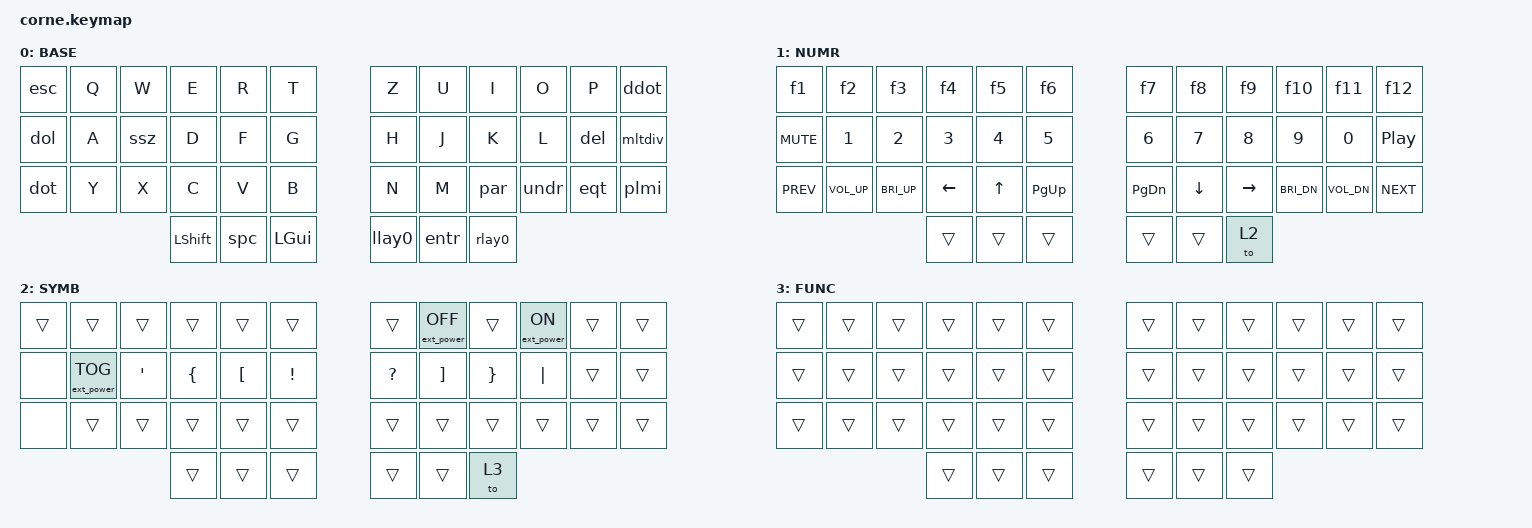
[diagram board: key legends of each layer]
/*
 * Copyright (c) 2020 The ZMK Contributors
 *
 * SPDX-License-Identifier: MIT
 */

#include <behaviors/unicode.dtsi>
#include <behaviors.dtsi>
#include <dt-bindings/zmk/bt.h>
#include <dt-bindings/zmk/ext_power.h>
#include <dt-bindings/zmk/keys.h>

&uc { default-mode = <UC_MODE_LINUX>; };

/ {
    combos { compatible = "zmk,combos"; };

    behaviors {
        par: par {
            compatible = "zmk,behavior-mod-morph";
            label = "PAR";
            bindings = <&kp LPAR>, <&kp RPAR>;

            #binding-cells = <0>;
            mods = <(MOD_LSFT|MOD_RSFT)>;
        };

        brc: brc {
            compatible = "zmk,behavior-mod-morph";
            label = "BRC";
            bindings = <&kp LBRC>, <&kp RBRC>;

            #binding-cells = <0>;
            mods = <(MOD_LSFT|MOD_RSFT)>;
        };

        bkt: bkt {
            compatible = "zmk,behavior-mod-morph";
            label = "BKT";
            bindings = <&kp LBKT>, <&kp RBKT>;

            #binding-cells = <0>;
            mods = <(MOD_LSFT|MOD_RSFT)>;
        };

        spc: spc {
            compatible = "zmk,behavior-mod-morph";
            label = "SPC";
            bindings = <&kp SPACE>, <&spc2>;

            #binding-cells = <0>;
            mods = <(MOD_LSFT|MOD_RSFT|MOD_LGUI|MOD_RGUI)>;
        };

        del: del {
            compatible = "zmk,behavior-mod-morph";
            label = "DEL";
            bindings = <&kp BACKSPACE>, <&kp DELETE>;

            #binding-cells = <0>;
            mods = <(MOD_LSFT|MOD_RSFT)>;
        };

        spc2: spc2 {
            compatible = "zmk,behavior-mod-morph";
            label = "SPC2";
            bindings = <&kp TAB>, <&kp LCTRL>;

            #binding-cells = <0>;
            mods = <(MOD_LGUI|MOD_RGUI)>;
        };

        rlay0: rlay0 {
            compatible = "zmk,behavior-mod-morph";
            label = "RLAY0";
            bindings = <&to 1>, <&sl 2>;

            #binding-cells = <0>;
            mods = <(MOD_LSFT|MOD_RSFT)>;
            keep-mods = <(MOD_LSFT|MOD_RSFT)>;
        };

        eqt: eqt {
            compatible = "zmk,behavior-mod-morph";
            label = "EQT";
            bindings = <&kp EQUAL>, <&eqt2>;

            #binding-cells = <0>;
            mods = <(MOD_LSFT|MOD_RCTL|MOD_LGUI|MOD_RGUI)>;
        };

        eqt2: eqt2 {
            compatible = "zmk,behavior-mod-morph";
            label = "EQT2";
            bindings = <&kp LT>, <&kp GT>;

            #binding-cells = <0>;
            mods = <(MOD_LGUI|MOD_RGUI)>;
        };

        plmi: plmi {
            compatible = "zmk,behavior-mod-morph";
            label = "PLMI";
            bindings = <&kp PLUS>, <&kp MINUS>;

            #binding-cells = <0>;
            mods = <(MOD_LSFT|MOD_RSFT)>;
        };

        mltdiv: mltdiv {
            compatible = "zmk,behavior-mod-morph";
            label = "MLTDIV";
            bindings = <&kp ASTERISK>, <&mltdiv2>;

            #binding-cells = <0>;
            mods = <(MOD_LSFT|MOD_RSFT|MOD_LGUI|MOD_RGUI)>;
        };

        mltdiv2: mltdiv2 {
            compatible = "zmk,behavior-mod-morph";
            label = "MLTDIV2";
            bindings = <&kp SLASH>, <&kp BACKSLASH>;

            #binding-cells = <0>;
            mods = <(MOD_LGUI|MOD_RGUI)>;
        };

        undr: undr {
            compatible = "zmk,behavior-mod-morph";
            label = "UNDR";
            bindings = <&kp UNDER>, <&caret>;

            #binding-cells = <0>;
            mods = <(MOD_LSFT|MOD_RSFT)>;
        };

        entr: entr {
            compatible = "zmk,behavior-mod-morph";
            label = "ENTR";
            bindings = <&kp ENTER>, <&entr2>;

            #binding-cells = <0>;
            mods = <(MOD_LSFT|MOD_LGUI|MOD_RSFT|MOD_RGUI)>;
        };

        entr2: entr2 {
            compatible = "zmk,behavior-mod-morph";
            label = "ENTR2";
            bindings = <&kp END>, <&kp HOME>;

            #binding-cells = <0>;
            mods = <(MOD_RGUI|MOD_LGUI)>;
        };

        dot: dot {
            compatible = "zmk,behavior-mod-morph";
            label = "DOT";
            bindings = <&kp DOT>, <&dot2>;

            #binding-cells = <0>;
            mods = <(MOD_LSFT|MOD_RSFT)>;
        };

        ddot: ddot {
            compatible = "zmk,behavior-mod-morph";
            label = "DDOT";
            bindings = <&kp COLON>, <&ddot2>;

            #binding-cells = <0>;
            mods = <(MOD_LSFT|MOD_RSFT)>;
        };

        dot2: dot2 {
            compatible = "zmk,behavior-mod-morph";
            label = "DOT2";
            bindings = <&kp COMMA>, <&kp DOUBLE_QUOTES>;

            #binding-cells = <0>;
            mods = <(MOD_LGUI|MOD_RGUI)>;
        };

        ddot2: ddot2 {
            compatible = "zmk,behavior-mod-morph";
            label = "DDOT2";
            bindings = <&kp SEMICOLON>, <&kp PIPE>;

            #binding-cells = <0>;
            mods = <(MOD_LGUI|MOD_RGUI)>;
        };

        llay0: llay0 {
            compatible = "zmk,behavior-mod-morph";
            label = "LLAY0";
            bindings = <&to 0>, <&soft_off>;

            #binding-cells = <0>;
            mods = <(MOD_RGUI|MOD_LGUI)>;
        };

        dol: dol {
            compatible = "zmk,behavior-mod-morph";
            label = "DOL";
            bindings = <&kp DOLLAR>, <&kp HASH>;

            #binding-cells = <0>;
            mods = <(MOD_LSFT|MOD_RSFT)>;
        };

        esc: esc {
            compatible = "zmk,behavior-mod-morph";
            label = "ESC";
            bindings = <&kp ESC>, <&bt BT_NXT>;

            #binding-cells = <0>;
            mods = <(MOD_LGUI|MOD_RGUI)>;
        };

        f1: f1 {
            compatible = "zmk,behavior-mod-morph";
            label = "F1";
            bindings = <&kp F1>, <&kp F13>;

            #binding-cells = <0>;
            mods = <(MOD_LSFT|MOD_RSFT)>;
        };

        f2: f2 {
            compatible = "zmk,behavior-mod-morph";
            label = "F2";
            bindings = <&kp F2>, <&kp F14>;

            #binding-cells = <0>;
            mods = <(MOD_LSFT|MOD_RSFT)>;
        };

        f3: f3 {
            compatible = "zmk,behavior-mod-morph";
            label = "F3";
            bindings = <&kp F3>, <&kp F15>;

            #binding-cells = <0>;
            mods = <(MOD_LSFT|MOD_RSFT)>;
        };

        f4: f4 {
            compatible = "zmk,behavior-mod-morph";
            label = "F4";
            bindings = <&kp F4>, <&kp F16>;

            #binding-cells = <0>;
            mods = <(MOD_LSFT|MOD_RSFT)>;
        };

        f5: f5 {
            compatible = "zmk,behavior-mod-morph";
            label = "F5";
            bindings = <&kp F5>, <&kp F17>;

            #binding-cells = <0>;
            mods = <(MOD_LSFT|MOD_RSFT)>;
        };

        f6: f6 {
            compatible = "zmk,behavior-mod-morph";
            label = "F6";
            bindings = <&kp F6>, <&kp F18>;

            #binding-cells = <0>;
            mods = <(MOD_LSFT|MOD_RSFT)>;
        };

        f7: f7 {
            compatible = "zmk,behavior-mod-morph";
            label = "F7";
            bindings = <&kp F7>, <&kp F19>;

            #binding-cells = <0>;
            mods = <(MOD_LSFT|MOD_RSFT)>;
        };

        f8: f8 {
            compatible = "zmk,behavior-mod-morph";
            label = "F8";
            bindings = <&kp F8>, <&kp F20>;

            #binding-cells = <0>;
            mods = <(MOD_LSFT|MOD_RSFT)>;
        };

        f9: f9 {
            compatible = "zmk,behavior-mod-morph";
            label = "F9";
            bindings = <&kp F9>, <&kp F21>;

            #binding-cells = <0>;
            mods = <(MOD_LSFT|MOD_RSFT)>;
        };

        f10: f10 {
            compatible = "zmk,behavior-mod-morph";
            label = "F10";
            bindings = <&kp F10>, <&kp F22>;

            #binding-cells = <0>;
            mods = <(MOD_LSFT|MOD_RSFT)>;
        };

        f11: f11 {
            compatible = "zmk,behavior-mod-morph";
            label = "F11";
            bindings = <&kp F11>, <&kp F23>;

            #binding-cells = <0>;
            mods = <(MOD_LSFT|MOD_RSFT)>;
        };

        f12: f12 {
            compatible = "zmk,behavior-mod-morph";
            label = "F12";
            bindings = <&kp F12>, <&kp F24>;

            #binding-cells = <0>;
            mods = <(MOD_LSFT|MOD_RSFT)>;
        };

        ssz: ssz {
            compatible = "zmk,behavior-mod-morph";
            label = "SSZ";
            bindings = <&kp S>, <&ext_power EP_TOG>;

            #binding-cells = <0>;
            mods = <(MOD_LGUI|MOD_RGUI)>;
        };
    };

    macros {
        caret: DACH {
            compatible = "zmk,behavior-macro";
            #binding-cells = <0>;
            bindings = <&kp CARET &kp SPACE>;
            label = "DACH";
        };
    };

    keymap {
        compatible = "zmk,keymap";

        default_layer {
            display-name = "BASE";
            bindings = <
&esc  &kp Q  &kp W  &kp E       &kp R  &kp T       &kp Z   &kp U  &kp I   &kp O  &kp P  &ddot
&dol  &kp A  &ssz   &kp D       &kp F  &kp G       &kp H   &kp J  &kp K   &kp L  &del   &mltdiv
&dot  &kp Y  &kp X  &kp C       &kp V  &kp B       &kp N   &kp M  &par    &undr  &eqt   &plmi
                    &kp LSHIFT  &spc   &kp LGUI    &llay0  &entr  &rlay0
            >;
        };

        number_layer {
            bindings = <
&f1         &f2           &f3           &f4       &f5     &f6          &f7        &f8       &f9        &f10          &f11          &f12
&kp C_MUTE  &kp N1        &kp N2        &kp N3    &kp N4  &kp N5       &kp N6     &kp N7    &kp N8     &kp N9        &kp N0        &kp C_PP
&kp C_PREV  &kp C_VOL_UP  &kp C_BRI_UP  &kp LEFT  &kp UP  &kp PG_UP    &kp PG_DN  &kp DOWN  &kp RIGHT  &kp C_BRI_DN  &kp C_VOL_DN  &kp C_NEXT
                                        &trans    &trans  &trans       &trans     &trans    &to 2
            >;

            label = "NUMR";
        };

        symbol_layer {
            bindings = <
&trans  &trans             &trans    &trans    &trans    &trans      &trans     &ext_power EP_OFF  &trans    &ext_power EP_ON  &trans  &trans
&none   &ext_power EP_TOG  &kp APOS  &kp LBRC  &kp LBKT  &kp EXCL    &kp QMARK  &kp RBKT           &kp RBRC  &kp PIPE          &trans  &trans
&none   &trans             &trans    &trans    &trans    &trans      &trans     &trans             &trans    &trans            &trans  &trans
                                     &trans    &trans    &trans      &trans     &trans             &to 3
            >;

            label = "SYMB";
        };

        function_layer {
            bindings = <
&trans  &trans  &trans  &trans  &trans  &trans    &trans  &trans  &trans  &trans  &trans  &trans
&trans  &trans  &trans  &trans  &trans  &trans    &trans  &trans  &trans  &trans  &trans  &trans
&trans  &trans  &trans  &trans  &trans  &trans    &trans  &trans  &trans  &trans  &trans  &trans
                        &trans  &trans  &trans    &trans  &trans  &trans
            >;

            label = "FUNC";
        };
    };

    conditional_layers { compatible = "zmk,conditional-layers"; };
};
